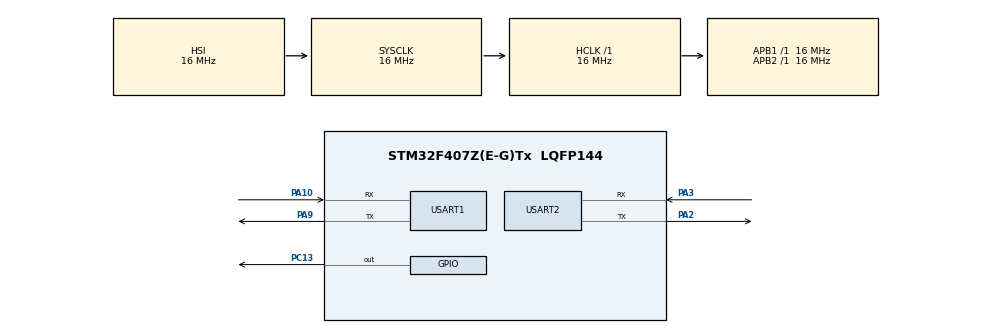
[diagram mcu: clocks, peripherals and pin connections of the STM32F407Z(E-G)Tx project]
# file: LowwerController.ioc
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Dma.Request0=USART2_TX
Dma.Request1=USART2_RX
Dma.USART2_RX.1.Direction=DMA_PERIPH_TO_MEMORY
Dma.USART2_RX.1.FIFOMode=DMA_FIFOMODE_DISABLE
Dma.USART2_RX.1.Instance=DMA1_Stream5
Dma.USART2_RX.1.MemDataAlignment=DMA_MDATAALIGN_BYTE
Dma.USART2_RX.1.MemInc=DMA_MINC_ENABLE
Dma.USART2_RX.1.Mode=DMA_CIRCULAR
Dma.USART2_RX.1.PeriphDataAlignment=DMA_PDATAALIGN_BYTE
Dma.USART2_RX.1.PeriphInc=DMA_PINC_DISABLE
Dma.USART2_RX.1.Priority=DMA_PRIORITY_VERY_HIGH
Dma.USART2_TX.0.Direction=DMA_MEMORY_TO_PERIPH
Dma.USART2_TX.0.FIFOMode=DMA_FIFOMODE_DISABLE
Dma.USART2_TX.0.Instance=DMA1_Stream6
Dma.USART2_TX.0.MemDataAlignment=DMA_MDATAALIGN_BYTE
Dma.USART2_TX.0.MemInc=DMA_MINC_ENABLE
Dma.USART2_TX.0.Mode=DMA_NORMAL
Dma.USART2_TX.0.PeriphDataAlignment=DMA_PDATAALIGN_BYTE
Dma.USART2_TX.0.PeriphInc=DMA_PINC_DISABLE
Dma.USART2_TX.0.Priority=DMA_PRIORITY_VERY_HIGH
FREERTOS.Tasks01=defaultTask,24,3000,StartDefaultTask,Default,NULL,Static,defaultTaskBuffer,defaultTaskControlBlock
Mcu.Family=STM32F4
Mcu.Name=STM32F407Z(E-G)Tx
Mcu.Package=LQFP144
NVIC.DMA1_Stream5_IRQn=true\:5\:0\:false\:false\:true\:true\:false\:true\:true
NVIC.DMA1_Stream6_IRQn=true\:5\:0\:false\:false\:true\:true\:false\:true\:true
NVIC.PriorityGroup=NVIC_PRIORITYGROUP_4
NVIC.TIM1_UP_TIM10_IRQn=true\:15\:0\:false\:false\:true\:false\:false\:true\:true
NVIC.TimeBase=TIM1_UP_TIM10_IRQn
NVIC.TimeBaseIP=TIM1
NVIC.USART2_IRQn=true\:5\:0\:false\:false\:true\:true\:true\:true\:true
PA10.Mode=Asynchronous
PA10.Signal=USART1_RX
PA2.Mode=Asynchronous
PA2.Signal=USART2_TX
PA3.Mode=Asynchronous
PA3.Signal=USART2_RX
PA9.Mode=Asynchronous
PA9.Signal=USART1_TX
PC13-ANTI_TAMP.Signal=GPIO_Output
PH0-OSC_IN.Mode=HSE-External-Oscillator
PH0-OSC_IN.Signal=RCC_OSC_IN
PH1-OSC_OUT.Mode=HSE-External-Oscillator
PH1-OSC_OUT.Signal=RCC_OSC_OUT
ProjectManager.HeapSize=0x200
ProjectManager.StackSize=0x400
ProjectManager.TargetToolchain=Makefile
RCC.AHBFreq_Value=16000000
RCC.APB1Freq_Value=16000000
RCC.APB2Freq_Value=16000000
RCC.CortexFreq_Value=16000000
RCC.HSE_VALUE=25000000
RCC.HSI_VALUE=16000000
RCC.LSE_VALUE=32768
RCC.SYSCLKFreq_VALUE=16000000
RCC.VCOOutputFreq_Value=192000000
USART1.VirtualMode=VM_ASYNC
USART2.VirtualMode=VM_ASYNC
VP_FREERTOS_VS_CMSIS_V2.Mode=CMSIS_V2
VP_SYS_VS_tim1.Mode=TIM1
board=custom

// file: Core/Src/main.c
/* USER CODE BEGIN Header */
/**
  ******************************************************************************
  * @file           : main.c
  * @brief          : Main program body
  ******************************************************************************
  * @attention
  *
  * Copyright (c) 2025 STMicroelectronics.
  * All rights reserved.
  *
  * This software is licensed under terms that can be found in the LICENSE file
  * in the root directory of this software component.
  * If no LICENSE file comes with this software, it is provided AS-IS.
  *
  ******************************************************************************
  */
/* USER CODE END Header */
#include "main.h"
#include "cmsis_os.h"
#include "dma.h"
#include "usart.h"
#include "gpio.h"

/* USER CODE BEGIN Includes */
#include "motor_ctrl.h"
#include "kinematics.h"

/* USER CODE END Includes */

void SystemClock_Config(void);
void MX_FREERTOS_Init(void);

/* USER CODE BEGIN 0 */

// 轮询计数器，用于跟踪当前处理的轮子
static uint8_t wheel_index = 0;

//TODO:测试ros2串口
/**
 * @brief  中断回调函数
 */
void HAL_UART_RxCpltCallback(UART_HandleTypeDef *huart)
{
    if (huart->Instance == USART1)
    {
        if (rx_char == '\n' || rx_char == '\r' || rx_char == '!')
        {
            rx_buffer[rx_index] = '\0';
            if (rx_index > 0)
            {
                // 解析调试信息
                int pwm_val = 0;
                int pulse = 0;

                if (sscanf(rx_buffer, "+%d+%d", &pwm_val, &pulse) == 2)
                {
                    // 设置当前轮子ID
                    current_wheel_id = wheel_index;

                    // 解析调试信息
                    Motor_ParseDebug(rx_buffer);

                    // 更新轮速和里程计
                    Kinematics_App_UpdateFromMotor(wheel_index, pulse);

                    // 轮循到下一个轮子
                    wheel_index = (wheel_index + 1) % WHEEL_COUNT;
                }
            }
            rx_index = 0;
        }
        else
        {
            rx_buffer[rx_index++] = rx_char;
            if (rx_index >= sizeof(rx_buffer))
                rx_index = 0;
        }

        HAL_UART_Receive_IT(&huart1, &rx_char, 1);
    }

}

/* USER CODE END 0 */

int main(void)
{

  /* MCU Configuration--------------------------------------------------------*/

  /* Reset of all peripherals, Initializes the Flash interface and the Systick. */
  HAL_Init();

  /* Configure the system clock */
  SystemClock_Config();

  /* Initialize all configured peripherals */
  MX_GPIO_Init();
  MX_DMA_Init();
  MX_USART1_UART_Init();
  MX_USART2_UART_Init();
  /* USER CODE BEGIN 2 */
  // 初始化运动学模块
  Kinematics_App_Init();

  // 开启所有电机的调试模式
  Motor_SpeedInit(WHEEL_FRONT_RIGHT);
  Motor_SpeedInit(WHEEL_FRONT_LEFT);
  Motor_SpeedInit(WHEEL_REAR_LEFT);
  Motor_SpeedInit(WHEEL_REAR_RIGHT);

  printf("System initialized. Ready for commands.\r\n");
  /* USER CODE END 2 */

  /* Init scheduler */
  osKernelInitialize();  /* Call init function for freertos objects (in cmsis_os2.c) */
  MX_FREERTOS_Init();

  /* Start scheduler */
  osKernelStart();

  /* We should never get here as control is now taken by the scheduler */

  /* Infinite loop */
  while (1)
  {

  }
}

void SystemClock_Config(void)
{
  RCC_OscInitTypeDef RCC_OscInitStruct = {0};
  RCC_ClkInitTypeDef RCC_ClkInitStruct = {0};

  /** Configure the main internal regulator output voltage
  */
  __HAL_RCC_PWR_CLK_ENABLE();
  __HAL_PWR_VOLTAGESCALING_CONFIG(PWR_REGULATOR_VOLTAGE_SCALE1);

  /** Initializes the RCC Oscillators according to the specified parameters
  * in the RCC_OscInitTypeDef structure.
  */
  RCC_OscInitStruct.OscillatorType = RCC_OSCILLATORTYPE_HSI;
  RCC_OscInitStruct.HSIState = RCC_HSI_ON;
  RCC_OscInitStruct.HSICalibrationValue = RCC_HSICALIBRATION_DEFAULT;
  RCC_OscInitStruct.PLL.PLLState = RCC_PLL_NONE;
  if (HAL_RCC_OscConfig(&RCC_OscInitStruct) != HAL_OK)
  {
    Error_Handler();
  }

  /** Initializes the CPU, AHB and APB buses clocks
  */
  RCC_ClkInitStruct.ClockType = RCC_CLOCKTYPE_HCLK|RCC_CLOCKTYPE_SYSCLK
                              |RCC_CLOCKTYPE_PCLK1|RCC_CLOCKTYPE_PCLK2;
  RCC_ClkInitStruct.SYSCLKSource = RCC_SYSCLKSOURCE_HSI;
  RCC_ClkInitStruct.AHBCLKDivider = RCC_SYSCLK_DIV1;
  RCC_ClkInitStruct.APB1CLKDivider = RCC_HCLK_DIV1;
  RCC_ClkInitStruct.APB2CLKDivider = RCC_HCLK_DIV1;

  if (HAL_RCC_ClockConfig(&RCC_ClkInitStruct, FLASH_LATENCY_0) != HAL_OK)
  {
    Error_Handler();
  }
}

void HAL_TIM_PeriodElapsedCallback(TIM_HandleTypeDef *htim)
{
  if (htim->Instance == TIM1)
  {
    HAL_IncTick();
  }
}

void Error_Handler(void)
{
  __disable_irq();
  while (1)
  {
  }
}

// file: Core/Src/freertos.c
/* USER CODE BEGIN Header */
/**
  ******************************************************************************
  * File Name          : freertos.c
  * Description        : Code for freertos applications
  ******************************************************************************
  * @attention
  *
  * Copyright (c) 2025 STMicroelectronics.
  * All rights reserved.
  *
  * This software is licensed under terms that can be found in the LICENSE file
  * in the root directory of this software component.
  * If no LICENSE file comes with this software, it is provided AS-IS.
  *
  ******************************************************************************
  */
/* USER CODE END Header */

#include "FreeRTOS.h"
#include "task.h"
#include "main.h"
#include "cmsis_os.h"

/* USER CODE BEGIN Includes */
#include <rcl/rcl.h>
#include <rcl/error_handling.h>
#include <rclc/rclc.h>
#include <rclc/executor.h>
#include <uxr/client/transport.h>
#include <rmw_microxrcedds_c/config.h>
#include <rmw_microros/rmw_microros.h>
#include <std_msgs/msg/int32.h>

#include <std_msgs/msg/int32.h>
#include <stdbool.h>
#include "usart.h"
#include "motor_ctrl.h"
/* USER CODE END Includes */

typedef StaticTask_t osStaticThreadDef_t;

/* Definitions for defaultTask */
osThreadId_t defaultTaskHandle;
uint32_t defaultTaskBuffer[ 3000 ];
osStaticThreadDef_t defaultTaskControlBlock;
const osThreadAttr_t defaultTask_attributes = {
  .name = "defaultTask",
  .cb_mem = &defaultTaskControlBlock,
  .cb_size = sizeof(defaultTaskControlBlock),
  .stack_mem = &defaultTaskBuffer[0],
  .stack_size = sizeof(defaultTaskBuffer),
  .priority = (osPriority_t) osPriorityNormal,
};

/* USER CODE BEGIN FunctionPrototypes */
bool cubemx_transport_open(struct uxrCustomTransport * transport);
bool cubemx_transport_close(struct uxrCustomTransport * transport);
size_t cubemx_transport_write(struct uxrCustomTransport* transport, const uint8_t * buf, size_t len, uint8_t * err);
size_t cubemx_transport_read(struct uxrCustomTransport* transport, uint8_t* buf, size_t len, int timeout, uint8_t* err);

void * microros_allocate(size_t size, void * state);
void microros_deallocate(void * pointer, void * state);
void * microros_reallocate(void * pointer, size_t size, void * state);
void * microros_zero_allocate(size_t number_of_elements, size_t size_of_element, void * state);

void speed_callback(const void * msgin)
{
    const std_msgs__msg__Int32 * msg = (const std_msgs__msg__Int32 *)msgin;
    int speed = msg->data;

    // 将速度转换成 PWM（0~1000 映射到 500～2500）
    int pwm = speed + 1500;
    Motor_CloseLoop(7,pwm,0);

}

/* USER CODE END FunctionPrototypes */

void StartDefaultTask(void *argument);

void MX_FREERTOS_Init(void); /* (MISRA C 2004 rule 8.1) */

void MX_FREERTOS_Init(void) {

  /* Create the thread(s) */
  /* creation of defaultTask */
  defaultTaskHandle = osThreadNew(StartDefaultTask, NULL, &defaultTask_attributes);

}

void StartDefaultTask(void *argument)
{
  /* USER CODE BEGIN StartDefaultTask */
  /* Infinite loop */
  // micro-ROS configuration

  rmw_uros_set_custom_transport(
    true,
    (void *) &huart2,
    cubemx_transport_open,
    cubemx_transport_close,
    cubemx_transport_write,
    cubemx_transport_read);

  rcl_allocator_t freeRTOS_allocator = rcutils_get_zero_initialized_allocator();
  freeRTOS_allocator.allocate = microros_allocate;
  freeRTOS_allocator.deallocate = microros_deallocate;
  freeRTOS_allocator.reallocate = microros_reallocate;
  freeRTOS_allocator.zero_allocate =  microros_zero_allocate;

  if (!rcutils_set_default_allocator(&freeRTOS_allocator)) {
      printf("Error on default allocators (line %d)\n", __LINE__);
  }

  // micro-ROS app

  rcl_publisher_t publisher;
  rclc_support_t support;
  rcl_allocator_t allocator;
  rcl_node_t node;

  allocator = rcl_get_default_allocator();

  //create init_options
  rclc_support_init(&support, 0, NULL, &allocator);

  // create node
  rclc_node_init_default(&node, "cubemx_node", "", &support);

  //创建订阅器
  rcl_subscription_t speed_sub;
  std_msgs__msg__Int32 speed_msg;
  rclc_subscription_init_default(
    &speed_sub,
    &node,
    ROSIDL_GET_MSG_TYPE_SUPPORT(std_msgs,msg,Int32),
    "wheel_speed"
  );
  //执行器
  rclc_executor_t executor;
  rclc_executor_init(&executor,&support.context,1,&allocator);
  rclc_executor_add_subscription(
    &executor,
    &speed_sub,
    &speed_msg,
    &speed_callback,
    ON_NEW_DATA
  );

  for(;;)
  {
    rclc_executor_spin_some(&executor,10);
    osDelay(10);
  }
  /* USER CODE END StartDefaultTask */
}
